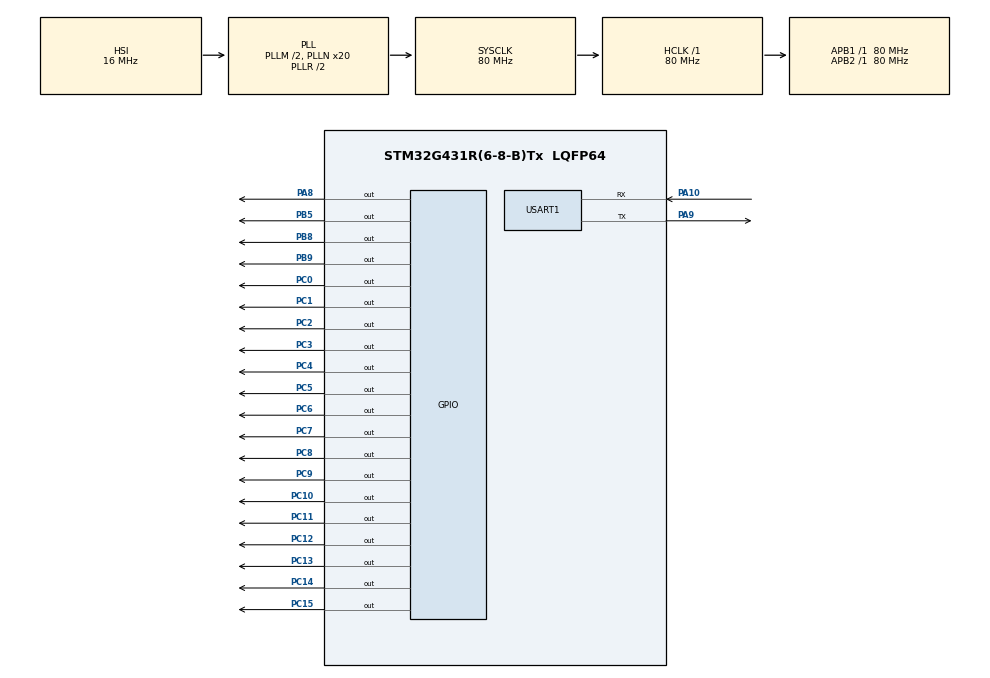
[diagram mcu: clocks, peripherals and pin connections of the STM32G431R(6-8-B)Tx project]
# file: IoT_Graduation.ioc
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Mcu.Family=STM32G4
Mcu.Name=STM32G431R(6-8-B)Tx
Mcu.Package=LQFP64
NVIC.PriorityGroup=NVIC_PRIORITYGROUP_4
PA10.Mode=Asynchronous
PA10.Signal=USART1_RX
PA8.Signal=GPIO_Output
PA9.Mode=Asynchronous
PA9.Signal=USART1_TX
PB5.Signal=GPIO_Output
PB8-BOOT0.Signal=GPIO_Output
PB9.Signal=GPIO_Output
PC0.Signal=GPIO_Output
PC1.Signal=GPIO_Output
PC10.Signal=GPIO_Output
PC11.Signal=GPIO_Output
PC12.Signal=GPIO_Output
PC13.Signal=GPIO_Output
PC14-OSC32_IN.Signal=GPIO_Output
PC15-OSC32_OUT.Signal=GPIO_Output
PC2.Signal=GPIO_Output
PC3.Signal=GPIO_Output
PC4.Signal=GPIO_Output
PC5.Signal=GPIO_Output
PC6.Signal=GPIO_Output
PC7.Signal=GPIO_Output
PC8.Signal=GPIO_Output
PC9.Signal=GPIO_Output
PF0-OSC_IN.Mode=HSE-External-Oscillator
PF0-OSC_IN.Signal=RCC_OSC_IN
PF1-OSC_OUT.Mode=HSE-External-Oscillator
PF1-OSC_OUT.Signal=RCC_OSC_OUT
ProjectManager.HeapSize=0x200
ProjectManager.StackSize=0x400
ProjectManager.TargetToolchain=MDK-ARM V5.27
RCC.ADC12Freq_Value=80000000
RCC.AHBFreq_Value=80000000
RCC.APB1Freq_Value=80000000
RCC.APB1TimFreq_Value=80000000
RCC.APB2Freq_Value=80000000
RCC.APB2TimFreq_Value=80000000
RCC.CortexFreq_Value=80000000
RCC.EXTERNAL_CLOCK_VALUE=12288000
RCC.HCLKFreq_Value=80000000
RCC.HSE_VALUE=24000000
RCC.HSI48_VALUE=48000000
RCC.HSI_VALUE=16000000
RCC.LSE_VALUE=32768
RCC.PLLM=RCC_PLLM_DIV2
RCC.PLLN=20
RCC.SYSCLKFreq_VALUE=80000000
RCC.SYSCLKSource=RCC_SYSCLKSOURCE_PLLCLK
RCC.USBFreq_Value=80000000
RCC.VCOOutputFreq_Value=160000000
USART1.VirtualMode-Asynchronous=VM_ASYNC
VP_SYS_VS_DBSignals.Mode=DisableDeadBatterySignals
board=custom

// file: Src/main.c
/* USER CODE BEGIN Header */
/**
  ******************************************************************************
  * @file           : main.c
  * @brief          : Main program body
  ******************************************************************************
  * @attention
  *
  * <h2><center>&copy; Copyright (c) 2021 STMicroelectronics.
  * All rights reserved.</center></h2>
  *
  * This software component is licensed by ST under BSD 3-Clause license,
  * the "License"; You may not use this file except in compliance with the
  * License. You may obtain a copy of the License at:
  *                        opensource.org/licenses/BSD-3-Clause
  *
  ******************************************************************************
  */
/* USER CODE END Header */
#include "main.h"

/* USER CODE BEGIN Includes */
#include <stdio.h>
/* USER CODE END Includes */

UART_HandleTypeDef huart1;

void SystemClock_Config(void);
static void MX_GPIO_Init(void);
static void MX_USART1_UART_Init(void);

int main(void)
{

  /* MCU Configuration--------------------------------------------------------*/

  /* Reset of all peripherals, Initializes the Flash interface and the Systick. */
  HAL_Init();

  /* Configure the system clock */
  SystemClock_Config();

  /* Initialize all configured peripherals */
  MX_GPIO_Init();
  MX_USART1_UART_Init();
  /* USER CODE BEGIN 2 */

	LCD_Init();
  /* USER CODE END 2 */

  /* Infinite loop */
  /* USER CODE BEGIN WHILE */

	LCD_Clear(Blue);
	LCD_SetBackColor(Blue);
	LCD_SetTextColor(White);

	LCD_DisplayStringLine(Line0, (uint8_t *)"                    ");
	LCD_DisplayStringLine(Line1, (uint8_t *)"                    ");
	LCD_DisplayStringLine(Line2, (uint8_t *)"      LCD Test      ");
	LCD_DisplayStringLine(Line3, (uint8_t *)"                    ");
	LCD_DisplayStringLine(Line4, (uint8_t *)"                    ");

	LCD_SetBackColor(White);
	LCD_SetTextColor(Blue);

	LCD_DisplayStringLine(Line5, (uint8_t *)"                    ");
	LCD_DisplayStringLine(Line6, (uint8_t *)"       HAL LIB      ");
	LCD_DisplayStringLine(Line7, (uint8_t *)"                    ");
	LCD_DisplayStringLine(Line8, (uint8_t *)"         @80        ");
	LCD_DisplayStringLine(Line9, (uint8_t *)"                    ");

	printf("machine start \r\n");
  while (1)
  {
    /* USER CODE END WHILE */

  }
}

void SystemClock_Config(void)
{
  RCC_OscInitTypeDef RCC_OscInitStruct = {0};
  RCC_ClkInitTypeDef RCC_ClkInitStruct = {0};

  /** Configure the main internal regulator output voltage
  */
  HAL_PWREx_ControlVoltageScaling(PWR_REGULATOR_VOLTAGE_SCALE1);

  /** Initializes the RCC Oscillators according to the specified parameters
  * in the RCC_OscInitTypeDef structure.
  */
  RCC_OscInitStruct.OscillatorType = RCC_OSCILLATORTYPE_HSI;
  RCC_OscInitStruct.HSIState = RCC_HSI_ON;
  RCC_OscInitStruct.HSICalibrationValue = RCC_HSICALIBRATION_DEFAULT;
  RCC_OscInitStruct.PLL.PLLState = RCC_PLL_ON;
  RCC_OscInitStruct.PLL.PLLSource = RCC_PLLSOURCE_HSI;
  RCC_OscInitStruct.PLL.PLLM = RCC_PLLM_DIV2;
  RCC_OscInitStruct.PLL.PLLN = 20;
  RCC_OscInitStruct.PLL.PLLP = RCC_PLLP_DIV2;
  RCC_OscInitStruct.PLL.PLLQ = RCC_PLLQ_DIV2;
  RCC_OscInitStruct.PLL.PLLR = RCC_PLLR_DIV2;
  if (HAL_RCC_OscConfig(&RCC_OscInitStruct) != HAL_OK)
  {
    Error_Handler();
  }

  /** Initializes the CPU, AHB and APB buses clocks
  */
  RCC_ClkInitStruct.ClockType = RCC_CLOCKTYPE_HCLK|RCC_CLOCKTYPE_SYSCLK
                              |RCC_CLOCKTYPE_PCLK1|RCC_CLOCKTYPE_PCLK2;
  RCC_ClkInitStruct.SYSCLKSource = RCC_SYSCLKSOURCE_PLLCLK;
  RCC_ClkInitStruct.AHBCLKDivider = RCC_SYSCLK_DIV1;
  RCC_ClkInitStruct.APB1CLKDivider = RCC_HCLK_DIV1;
  RCC_ClkInitStruct.APB2CLKDivider = RCC_HCLK_DIV1;

  if (HAL_RCC_ClockConfig(&RCC_ClkInitStruct, FLASH_LATENCY_2) != HAL_OK)
  {
    Error_Handler();
  }
}

static void MX_USART1_UART_Init(void)
{

  huart1.Instance = USART1;
  huart1.Init.BaudRate = 115200;
  huart1.Init.WordLength = UART_WORDLENGTH_8B;
  huart1.Init.StopBits = UART_STOPBITS_1;
  huart1.Init.Parity = UART_PARITY_NONE;
  huart1.Init.Mode = UART_MODE_TX_RX;
  huart1.Init.HwFlowCtl = UART_HWCONTROL_NONE;
  huart1.Init.OverSampling = UART_OVERSAMPLING_16;
  huart1.Init.OneBitSampling = UART_ONE_BIT_SAMPLE_DISABLE;
  huart1.Init.ClockPrescaler = UART_PRESCALER_DIV1;
  huart1.AdvancedInit.AdvFeatureInit = UART_ADVFEATURE_NO_INIT;
  if (HAL_UART_Init(&huart1) != HAL_OK)
  {
    Error_Handler();
  }
  if (HAL_UARTEx_SetTxFifoThreshold(&huart1, UART_TXFIFO_THRESHOLD_1_8) != HAL_OK)
  {
    Error_Handler();
  }
  if (HAL_UARTEx_SetRxFifoThreshold(&huart1, UART_RXFIFO_THRESHOLD_1_8) != HAL_OK)
  {
    Error_Handler();
  }
  if (HAL_UARTEx_DisableFifoMode(&huart1) != HAL_OK)
  {
    Error_Handler();
  }

}

static void MX_GPIO_Init(void)
{
  GPIO_InitTypeDef GPIO_InitStruct = {0};

  /* GPIO Ports Clock Enable */
  __HAL_RCC_GPIOC_CLK_ENABLE();
  __HAL_RCC_GPIOF_CLK_ENABLE();
  __HAL_RCC_GPIOA_CLK_ENABLE();
  __HAL_RCC_GPIOB_CLK_ENABLE();

  /*Configure GPIO pin Output Level */
  HAL_GPIO_WritePin(GPIOC, GPIO_PIN_13|GPIO_PIN_14|GPIO_PIN_15|GPIO_PIN_0
                          |GPIO_PIN_1|GPIO_PIN_2|GPIO_PIN_3|GPIO_PIN_4
                          |GPIO_PIN_5|GPIO_PIN_6|GPIO_PIN_7|GPIO_PIN_8
                          |GPIO_PIN_9|GPIO_PIN_10|GPIO_PIN_11|GPIO_PIN_12, GPIO_PIN_RESET);

  /*Configure GPIO pin Output Level */
  HAL_GPIO_WritePin(GPIOA, GPIO_PIN_8, GPIO_PIN_RESET);

  /*Configure GPIO pin Output Level */
  HAL_GPIO_WritePin(GPIOB, GPIO_PIN_5|GPIO_PIN_8|GPIO_PIN_9, GPIO_PIN_RESET);

  /*Configure GPIO pins : PC13 PC14 PC15 PC0
                           PC1 PC2 PC3 PC4
                           PC5 PC6 PC7 PC8
                           PC9 PC10 PC11 PC12 */
  GPIO_InitStruct.Pin = GPIO_PIN_13|GPIO_PIN_14|GPIO_PIN_15|GPIO_PIN_0
                          |GPIO_PIN_1|GPIO_PIN_2|GPIO_PIN_3|GPIO_PIN_4
                          |GPIO_PIN_5|GPIO_PIN_6|GPIO_PIN_7|GPIO_PIN_8
                          |GPIO_PIN_9|GPIO_PIN_10|GPIO_PIN_11|GPIO_PIN_12;
  GPIO_InitStruct.Mode = GPIO_MODE_OUTPUT_PP;
  GPIO_InitStruct.Pull = GPIO_NOPULL;
  GPIO_InitStruct.Speed = GPIO_SPEED_FREQ_LOW;
  HAL_GPIO_Init(GPIOC, &GPIO_InitStruct);

  /*Configure GPIO pin : PA8 */
  GPIO_InitStruct.Pin = GPIO_PIN_8;
  GPIO_InitStruct.Mode = GPIO_MODE_OUTPUT_PP;
  GPIO_InitStruct.Pull = GPIO_NOPULL;
  GPIO_InitStruct.Speed = GPIO_SPEED_FREQ_LOW;
  HAL_GPIO_Init(GPIOA, &GPIO_InitStruct);

  /*Configure GPIO pins : PB5 PB8 PB9 */
  GPIO_InitStruct.Pin = GPIO_PIN_5|GPIO_PIN_8|GPIO_PIN_9;
  GPIO_InitStruct.Mode = GPIO_MODE_OUTPUT_PP;
  GPIO_InitStruct.Pull = GPIO_NOPULL;
  GPIO_InitStruct.Speed = GPIO_SPEED_FREQ_LOW;
  HAL_GPIO_Init(GPIOB, &GPIO_InitStruct);

}

/* USER CODE BEGIN 4 */
int fputc(int c, FILE * stream) {

	HAL_UART_Transmit(&huart1, (uint8_t *)&c, 1, HAL_MAX_DELAY);

	return c;
}
/* USER CODE END 4 */

void Error_Handler(void)
{
}
